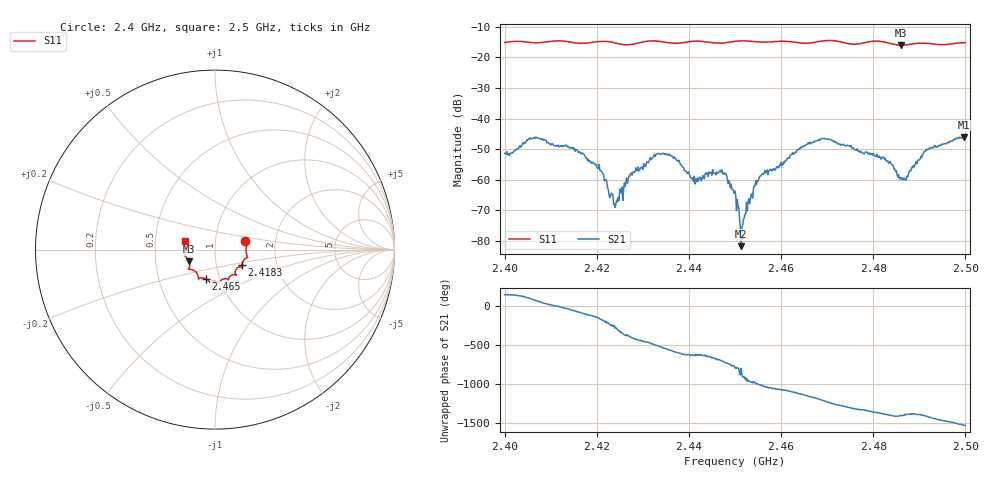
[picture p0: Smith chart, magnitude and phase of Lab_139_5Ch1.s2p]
# Hz S RI R 50
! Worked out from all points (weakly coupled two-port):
!   601 points, 2.4 GHz to 2.5 GHz, reference 50 ohm
!   highest |S21| = -45.97 dB at 2.4997 GHz (marker M1); lowest = -81.7 dB at 2.4513 GHz (marker M2)
!   lowest |S11| = -16.0 dB at 2.486 GHz (marker M3), VSWR 1.37, Z = 37.1 - j4.97 ohm
!   |S11| at or under -10 dB: start of sweep to end of sweep
!   S12 and S22 are empty: the file has one direction only
!   S11 on the Smith chart (normalised r, x): 2.4 GHz: 1.40, +0.13; 2.4183 GHz: 1.33, -0.24; 2.465 GHz: 0.86, -0.29; 2.5 GHz: 0.71, +0.07
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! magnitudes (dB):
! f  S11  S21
! 2.4 GHz  -15.1  -51.3
! 2.4068 GHz  -15.2  -46.0
! 2.4167 GHz  -15.4  -51.4
! 2.4183 GHz  -15.2  -54.1
! 2.421 GHz  -14.8  -57.1
! 2.4242 GHz  -15.4  -67.7
! 2.4275 GHz  -15.8  -57.7
! 2.4333 GHz  -14.7  -51.4
! 2.4373 GHz  -15.4  -53.6
! 2.4412 GHz  -14.7  -58.9
! 2.4473 GHz  -15.3  -58.1
! 2.45 GHz  -14.8  -63.7
! 2.4513 GHz  -14.6  -81.7
! 2.4557 GHz  -15.0  -58.5
! 2.465 GHz  -15.4  -48.9
! 2.4667 GHz  -15.3  -47.8
! 2.4705 GHz  -14.5  -46.8
! 2.4833 GHz  -15.3  -54.6
! 2.486 GHz  -16.0  -59.2
! 2.4915 GHz  -15.4  -50.0
! 2.4997 GHz  -15.2  -46.0
! 2.5 GHz  -15.2  -46.2
